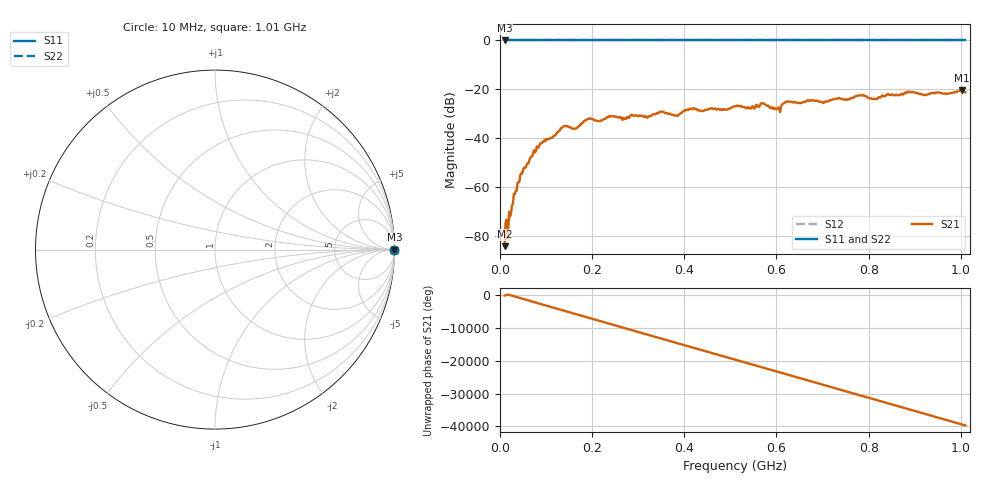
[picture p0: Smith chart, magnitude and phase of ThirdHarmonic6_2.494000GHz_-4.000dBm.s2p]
! 8/17/2025 4:44:13 AM
! C:\ANRITSUVNA\TEMP\TEMP.S2P
! CHANNEL.1
! TR.MEASUREMENT
! RAW.DATA
! RF.CORRECTION.OFF
! AVERAGING.OFF
! IF.BANDWIDTH: 5KHZ
! SWEEPTYPE:  FREQ.SWEEP(Linear)
! Reference Plane Port Info
! PORT:  PORT1  PORT2
! DISTANCE:  0  m  0  m
! TIME:  0  s  0  s
! PHASE.OFFSET:  0  deg.  0  deg.
! LOSS:  0  dB  0  dB
! REF.LOSS:  0  dB  0  dB
! REF.FREQ:  0  Hz  0  Hz
! Power Info
! POWER:  -20  dBm  -20  dBm
! EFF.POWER:  -20  dBm  -20  dBm
! SOURCE.ATTEN:  0  dB  0  dB
! TEST.ATTEN:  0  dB  0  dB
# GHZ S RI R 50.0
! FREQ.GHZ  S11RE  S11IM  S21RE  S21IM  S12RE  S12IM  S22RE  S22IM
!; PortSelection: Port_12
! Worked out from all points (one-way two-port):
!   501 points, 10 MHz to 1.01 GHz, reference 50 ohm
!   highest |S21| = -20.40 dB at 1.002 GHz (marker M1); lowest = -84.2 dB at 10 MHz (marker M2)
!   lowest |S11| = 0.0 dB at 10 MHz (marker M3)
!   |S11| at or under -10 dB: nowhere
!   |S22| runs from 0.0 to 0.0 dB; largest |S21 - S12| = 1.1
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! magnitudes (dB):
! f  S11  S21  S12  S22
! 10 MHz  0.0  -84.2  0.0  0.0
! 20 MHz  0.0  -70.1  0.0  0.0
! 34 MHz  0.0  -61.7  0.0  0.0
! 48 MHz  0.0  -54.5  0.0  0.0
! 76 MHz  0.0  -45.9  0.0  0.0
! 136 MHz  0.0  -35.5  0.0  0.0
! 162 MHz  0.0  -36.1  0.0  0.0
! 178 MHz  0.0  -33.8  0.0  0.0
! 194 MHz  0.0  -32.0  0.0  0.0
! 344 MHz  0.0  -29.7  0.0  0.0
! 382 MHz  0.0  -30.7  0.0  0.0
! 416 MHz  0.0  -28.1  0.0  0.0
! 510 MHz  0.0  -26.9  0.0  0.0
! 570 MHz  0.0  -25.6  0.0  0.0
! 604 MHz  0.0  -27.4  0.0  0.0
! 622 MHz  0.0  -25.1  0.0  0.0
! 678 MHz  0.0  -24.5  0.0  0.0
! 784 MHz  0.0  -22.5  0.0  0.0
! 814 MHz  0.0  -23.9  0.0  0.0
! 844 MHz  0.0  -22.2  0.0  0.0
! 1.002 GHz  0.0  -20.4  0.0  0.0
! 1.01 GHz  0.0  -21.2  0.0  0.0
